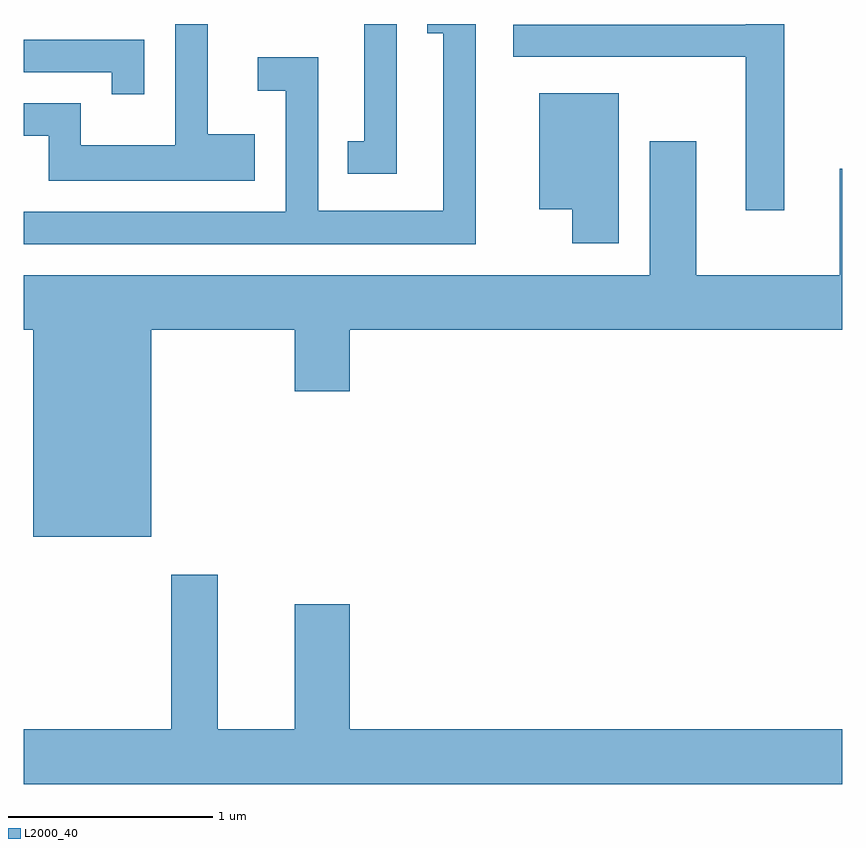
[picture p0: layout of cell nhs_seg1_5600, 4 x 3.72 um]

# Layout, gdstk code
import gdstk
lib = gdstk.Library(unit=1e-6, precision=1e-09)
def P(c, l, *ps):  # polygons
    for p in ps: c.add(gdstk.Polygon(p, *l))
L2000_40 = (2000, 40)

nhs_seg1_5600 = lib.new_cell('nhs_seg1_5600')
P(nhs_seg1_5600, L2000_40, [(355.434,927.712),(355.276,927.712),(355.276,927.139),(355.193,927.139),(355.193,926.981),(355.434,926.981)],
  [(355.819,927.712),(355.583,927.712),(355.583,927.666),(355.661,927.666),(355.661,926.799),(355.049,926.799),(355.049,927.549),(354.753,927.549),(354.753,927.386),(354.891,927.386),(354.891,926.794),(353.611,926.794),(353.611,926.636),(355.819,926.636)],
  [(357.329,927.712),(357.141,927.712),(357.141,927.709),(356.003,927.709),(356.003,927.551),(357.141,927.551),(357.141,926.801),(357.329,926.801)],
  [(354.739,927.174),(354.509,927.174),(354.509,927.712),(354.351,927.712),(354.351,927.119),(353.889,927.119),(353.889,927.324),(353.611,927.324),(353.611,927.166),(353.731,927.166),(353.731,926.946),(354.739,926.946)],
  [(354.199,927.634),(353.611,927.634),(353.611,927.476),(354.041,927.476),(354.041,927.368),(354.199,927.368)],
  [(356.519,927.374),(356.131,927.374),(356.131,926.806),(356.291,926.806),(356.291,926.641),(356.519,926.641)],
  [(354.234,926.216),(354.936,926.216),(354.936,925.916),(355.204,925.916),(355.204,926.216),(357.611,926.216),(357.611,927.004),(357.601,927.004),(357.601,926.484),(356.899,926.484),(356.899,927.139),(356.671,927.139),(356.671,926.484),(353.611,926.484),(353.611,926.216),(353.656,926.216),(353.656,925.206),(354.234,925.206)],
  [(357.611,924.264),(355.204,924.264),(355.204,924.874),(354.936,924.874),(354.936,924.264),(354.559,924.264),(354.559,925.019),(354.331,925.019),(354.331,924.264),(353.611,924.264),(353.611,923.996),(357.611,923.996)])

lib.write_gds('nhs_seg1_5600.gds')
